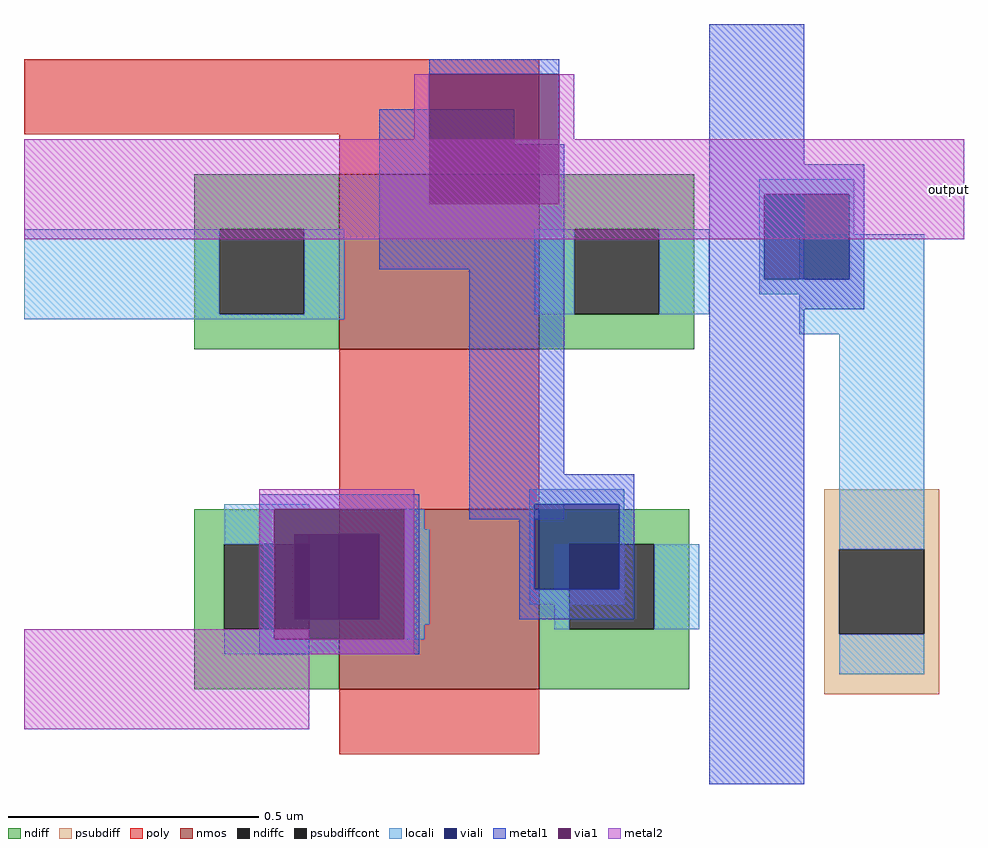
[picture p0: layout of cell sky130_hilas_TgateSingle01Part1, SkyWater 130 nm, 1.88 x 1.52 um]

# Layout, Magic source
magic
tech sky130A
<< nmos >>
rect 63 87 103 122
rect 63 19 103 55
<< ndiff >>
rect 34 111 63 122
rect 34 94 39 111
rect 56 94 63 111
rect 34 87 63 94
rect 103 111 134 122
rect 103 94 110 111
rect 127 94 134 111
rect 103 87 134 94
rect 34 48 63 55
rect 34 31 40 48
rect 57 31 63 48
rect 34 19 63 31
rect 103 48 133 55
rect 103 31 109 48
rect 126 31 133 48
rect 103 19 133 31
<< ndiffc >>
rect 39 94 56 111
rect 110 94 127 111
rect 40 31 57 48
rect 109 31 126 48
<< psubdiff >>
rect 160 47 183 59
rect 160 30 163 47
rect 180 30 183 47
rect 160 18 183 30
<< psubdiffcont >>
rect 163 30 180 47
<< poly >>
rect 0 130 103 145
rect 63 122 103 130
rect 63 55 103 87
rect 63 6 103 19
<< locali >>
rect 0 94 39 111
rect 56 94 64 111
rect 102 94 110 111
rect 127 94 137 111
rect 0 93 64 94
rect 155 90 180 110
rect 40 48 57 56
rect 106 31 109 48
rect 126 31 135 48
rect 163 47 180 90
rect 40 26 57 31
rect 163 22 180 30
<< metal1 >>
rect 71 128 98 135
rect 71 103 108 128
rect 89 53 108 103
rect 137 0 156 152
<< metal2 >>
rect 0 109 188 129
rect 0 11 57 31
use sky130_hilas_li2m1  sky130_hilas_li2m1_5
transform 1 0 99 0 1 33
box 0 0 23 29
use sky130_hilas_li2m1  sky130_hilas_li2m1_1
transform 1 0 145 0 1 95
box 0 0 23 29
use sky130_hilas_li2m2  sky130_hilas_li2m2_3
transform 1 0 47 0 1 26
box 0 0 34 33
use sky130_hilas_m12m2  sky130_hilas_m12m2_3
transform 1 0 78 0 1 113
box 0 0 32 32
<< labels >>
rlabel metal2 182 109 188 129 0 output
<< properties >>
string LEFsite unithd
string LEFclass CORE
string LEFsymmetry X Y R90
<< end >>

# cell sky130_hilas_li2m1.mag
magic
tech sky130A
<< locali >>
rect 2 23 21 26
rect 2 6 3 23
rect 20 6 21 23
rect 2 3 21 6
<< viali >>
rect 3 6 20 23
<< metal1 >>
rect 0 23 23 29
rect 0 6 3 23
rect 20 6 23 23
rect 0 0 23 6
<< properties >>
string LEFsite unithd
string LEFclass CORE
string LEFsymmetry X Y R90
<< end >>

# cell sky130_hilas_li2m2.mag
magic
tech sky130A
<< locali >>
rect 1 25 33 29
rect 1 24 34 25
rect 1 7 7 24
rect 24 7 34 24
rect 1 6 34 7
rect 1 3 33 6
<< viali >>
rect 7 7 24 24
<< metal1 >>
rect 0 29 32 32
rect 0 3 3 29
rect 29 3 32 29
rect 0 0 32 3
<< via1 >>
rect 3 24 29 29
rect 3 7 7 24
rect 7 7 24 24
rect 24 7 29 24
rect 3 3 29 7
<< metal2 >>
rect 0 29 31 33
rect 0 3 3 29
rect 29 3 31 29
rect 0 0 31 3
<< properties >>
string LEFsite unithd
string LEFclass CORE
string LEFsymmetry X Y R90
<< end >>

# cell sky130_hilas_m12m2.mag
magic
tech sky130A
<< metal1 >>
rect 3 29 29 32
rect 3 0 29 3
<< via1 >>
rect 3 3 29 29
<< metal2 >>
rect 0 3 3 29
rect 29 3 32 29
<< properties >>
string LEFsite unithd
string LEFclass CORE
string LEFsymmetry X Y R90
<< end >>
